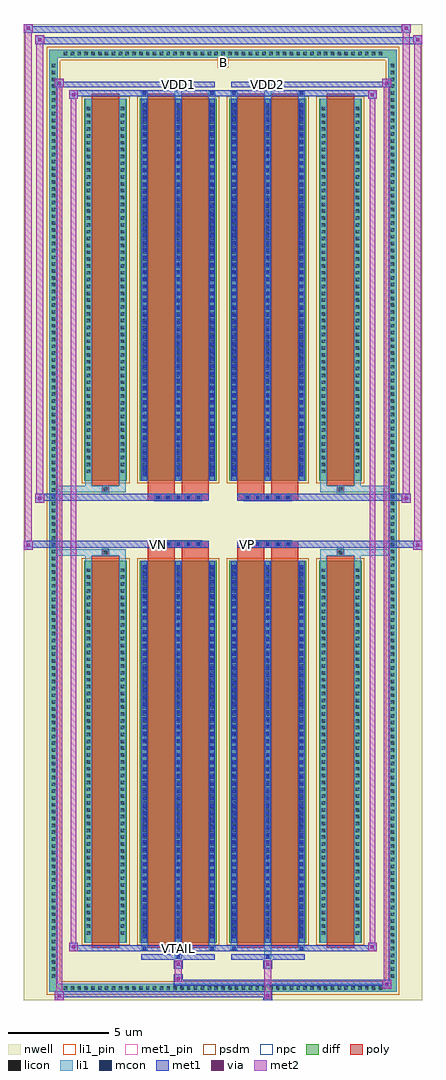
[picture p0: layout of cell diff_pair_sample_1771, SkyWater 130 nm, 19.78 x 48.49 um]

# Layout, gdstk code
import gdstk
lib = gdstk.Library(unit=1e-6, precision=5e-09)
def R(c, l, rs):  # rectangles x0, y0, x1, y1
    for r in rs: c.add(gdstk.rectangle(r[:2], r[2:], *l))
def A(c, l, x, y, w, h, nx, ny, dx, dy):  # array of equal rectangles
    R(c, l, [(x+i*dx, y+j*dy, x+i*dx+w, y+j*dy+h) for i in range(nx) for j in range(ny)])
def P(c, l, *ps):  # polygons
    for p in ps: c.add(gdstk.Polygon(p, *l))
nwell = (64, 20)
diff = (65, 20)
poly = (66, 20)
licon = (66, 44)
li1_pin = (67, 16)
li1 = (67, 20)
mcon = (67, 44)
met1_pin = (68, 16)
met1 = (68, 20)
via = (68, 44)
met2 = (69, 20)
psdm = (94, 20)
npc = (95, 20)

diff_pair_sample_1771 = lib.new_cell('diff_pair_sample_1771')
R(diff_pair_sample_1771, nwell, [(-9.89,-23.81,9.89,24.68), (-7.21,-22,-0.01,-0.8), (0.01,-22,7.21,-0.8), (-7.21,0.8,-0.01,22), (0.01,0.8,7.21,22)])
A(diff_pair_sample_1771, diff, -8.025, -23.41, 0.41, 0.41, 47, 2, 0.34, 46.41)
A(diff_pair_sample_1771, diff, -8.62, -22.815, 0.41, 0.41, 1, 134, 0, 0.34)
A(diff_pair_sample_1771, diff, 8.21, -22.815, 0.41, 0.41, 1, 134, 0, 0.34)
R(diff_pair_sample_1771, diff, [(-8.025,-23.41,8.025,-23), (-8.62,-22.815,-8.21,22.815), (8.21,-22.815,8.62,22.815), (-6.9,-20.955,-4.77,-1.985), (-4.13,-20.955,-0.32,-1.985), (0.32,-20.955,4.13,-1.985), (4.77,-20.955,6.9,-1.985), (-6.9,1.985,-4.77,20.955), (-4.13,1.985,-0.32,20.955), (0.32,1.985,4.13,20.955), (4.77,1.985,6.9,20.955), (-8.025,23,8.025,23.41)])
P(diff_pair_sample_1771, diff, [(8.62,23.41),(-8.62,23.41),(-8.62,-23),(-8.21,-23),(-8.21,23),(8.21,23),(8.21,-23),(-8.21,-23),(-8.62,-23),(-8.62,-23.41),(8.62,-23.41)])
A(diff_pair_sample_1771, poly, -3.39, -1.33, 0.33, 0.33, 5, 2, 0.5, 2.33)
A(diff_pair_sample_1771, poly, 1.06, -1.33, 0.33, 0.33, 5, 2, 0.5, 2.33)
R(diff_pair_sample_1771, poly, [(-6.51,-21.205,-5.16,-1.735), (-3.74,-21.205,-2.39,-1.735), (-2.06,-21.205,-0.71,-1.735), (0.71,-21.205,2.06,-1.735), (2.39,-21.205,3.74,-1.735), (5.16,-21.205,6.51,-1.735), (-6,-1.735,-5.67,-1.405), (-6,-1.735,-5.67,-1.405), (-3.74,-1.735,-2.39,-1.33), (-2.06,-1.735,-0.71,-1.33), (0.71,-1.735,2.06,-1.33), (2.39,-1.735,3.74,-1.33), (5.67,-1.735,6,-1.405), (5.67,-1.735,6,-1.405), (-3.74,-1.33,-0.71,-1), (0.71,-1.33,3.74,-1), (-3.74,1,-0.71,1.33), (0.71,1,3.74,1.33), (-3.74,1.33,-2.39,1.735), (-2.06,1.33,-0.71,1.735), (0.71,1.33,2.06,1.735), (2.39,1.33,3.74,1.735), (-6,1.405,-5.67,1.735), (-6,1.405,-5.67,1.735), (5.67,1.405,6,1.735), (5.67,1.405,6,1.735), (-6.51,1.735,-5.16,21.205), (-3.74,1.735,-2.39,21.205), (-2.06,1.735,-0.71,21.205), (0.71,1.735,2.06,21.205), (2.39,1.735,3.74,21.205), (5.16,1.735,6.51,21.205)])
A(diff_pair_sample_1771, licon, -7.905, -23.29, 0.17, 0.17, 47, 2, 0.34, 46.41)
A(diff_pair_sample_1771, licon, -8.5, -22.695, 0.17, 0.17, 1, 134, 0, 0.34)
A(diff_pair_sample_1771, licon, 8.33, -22.695, 0.17, 0.17, 1, 134, 0, 0.34)
A(diff_pair_sample_1771, licon, -6.76, -20.565, 0.17, 0.17, 1, 54, 0, 0.34)
A(diff_pair_sample_1771, licon, -5.08, -20.565, 0.17, 0.17, 1, 54, 0, 0.34)
A(diff_pair_sample_1771, licon, -3.99, -20.565, 0.17, 0.17, 3, 54, 1.68, 0.34)
A(diff_pair_sample_1771, licon, 0.46, -20.565, 0.17, 0.17, 3, 54, 1.68, 0.34)
A(diff_pair_sample_1771, licon, 4.91, -20.565, 0.17, 0.17, 1, 54, 0, 0.34)
A(diff_pair_sample_1771, licon, 6.59, -20.565, 0.17, 0.17, 1, 54, 0, 0.34)
A(diff_pair_sample_1771, licon, -3.31, -1.25, 0.17, 0.17, 5, 2, 0.5, 2.33)
A(diff_pair_sample_1771, licon, 1.14, -1.25, 0.17, 0.17, 5, 2, 0.5, 2.33)
A(diff_pair_sample_1771, licon, -6.76, 2.375, 0.17, 0.17, 1, 54, 0, 0.34)
A(diff_pair_sample_1771, licon, -5.08, 2.375, 0.17, 0.17, 1, 54, 0, 0.34)
A(diff_pair_sample_1771, licon, -3.99, 2.375, 0.17, 0.17, 3, 54, 1.68, 0.34)
A(diff_pair_sample_1771, licon, 0.46, 2.375, 0.17, 0.17, 3, 54, 1.68, 0.34)
A(diff_pair_sample_1771, licon, 4.91, 2.375, 0.17, 0.17, 1, 54, 0, 0.34)
A(diff_pair_sample_1771, licon, 6.59, 2.375, 0.17, 0.17, 1, 54, 0, 0.34)
R(diff_pair_sample_1771, licon, [(-5.92,-1.655,-5.75,-1.485), (5.75,-1.655,5.92,-1.485), (-5.92,1.485,-5.75,1.655), (5.75,1.485,5.92,1.655)])
R(diff_pair_sample_1771, li1_pin, [(-0.25,22.5,0.25,23)])
A(diff_pair_sample_1771, li1, -7.985, -23.37, 0.33, 0.33, 47, 2, 0.34, 46.41)
A(diff_pair_sample_1771, li1, -8.58, -22.775, 0.33, 0.33, 1, 134, 0, 0.34)
A(diff_pair_sample_1771, li1, 8.25, -22.775, 0.33, 0.33, 1, 134, 0, 0.34)
A(diff_pair_sample_1771, li1, -4.07, -20.955, 0.33, 18.97, 3, 2, 1.68, 22.94)
A(diff_pair_sample_1771, li1, 0.38, -20.955, 0.33, 18.97, 3, 2, 1.68, 22.94)
A(diff_pair_sample_1771, li1, -3.99, -20.735, 0.17, 0.17, 3, 52, 1.68, 0.36)
A(diff_pair_sample_1771, li1, -3.99, -20.735, 0.17, 18.53, 3, 2, 1.68, 22.94)
A(diff_pair_sample_1771, li1, 0.46, -20.735, 0.17, 0.17, 3, 52, 1.68, 0.36)
A(diff_pair_sample_1771, li1, 0.46, -20.735, 0.17, 18.53, 3, 2, 1.68, 22.94)
A(diff_pair_sample_1771, li1, -6.84, -20.645, 0.33, 0.33, 1, 54, 0, 0.34)
A(diff_pair_sample_1771, li1, -5.16, -20.645, 0.33, 0.33, 1, 54, 0, 0.34)
A(diff_pair_sample_1771, li1, -4.07, -20.645, 0.33, 0.33, 3, 54, 1.68, 0.34)
A(diff_pair_sample_1771, li1, 0.38, -20.645, 0.33, 0.33, 3, 54, 1.68, 0.34)
A(diff_pair_sample_1771, li1, 4.83, -20.645, 0.33, 0.33, 1, 54, 0, 0.34)
A(diff_pair_sample_1771, li1, 6.51, -20.645, 0.33, 0.33, 1, 54, 0, 0.34)
A(diff_pair_sample_1771, li1, -3.39, -1.33, 0.33, 0.33, 5, 2, 0.5, 2.33)
A(diff_pair_sample_1771, li1, 1.06, -1.33, 0.33, 0.33, 5, 2, 0.5, 2.33)
A(diff_pair_sample_1771, li1, -3.99, 2.205, 0.17, 0.17, 3, 52, 1.68, 0.36)
A(diff_pair_sample_1771, li1, 0.46, 2.205, 0.17, 0.17, 3, 52, 1.68, 0.36)
A(diff_pair_sample_1771, li1, -6.84, 2.295, 0.33, 0.33, 1, 54, 0, 0.34)
A(diff_pair_sample_1771, li1, -5.16, 2.295, 0.33, 0.33, 1, 54, 0, 0.34)
A(diff_pair_sample_1771, li1, -4.07, 2.295, 0.33, 0.33, 3, 54, 1.68, 0.34)
A(diff_pair_sample_1771, li1, 0.38, 2.295, 0.33, 0.33, 3, 54, 1.68, 0.34)
A(diff_pair_sample_1771, li1, 4.83, 2.295, 0.33, 0.33, 1, 54, 0, 0.34)
A(diff_pair_sample_1771, li1, 6.51, 2.295, 0.33, 0.33, 1, 54, 0, 0.34)
R(diff_pair_sample_1771, li1, [(-8.62,-23.41,-8.21,-23), (-8.62,-23.41,-8.21,-23), (-8.21,-23.41,8.21,-23), (8.21,-23.41,8.62,-23), (8.21,-23.41,8.62,-23), (-8.62,-23,-8.21,23), (8.21,-23,8.62,23), (-2.39,-21.76,-2.06,-20.955), (-2.31,-21.76,-2.14,-21.59), (2.06,-21.76,2.39,-20.955), (2.14,-21.76,2.31,-21.59), (-4.07,-21.33,-3.74,-20.955), (-3.99,-21.33,-3.82,-21.16), (-0.71,-21.33,-0.38,-20.955), (-0.63,-21.33,-0.46,-21.16), (0.38,-21.33,0.71,-20.955), (0.46,-21.33,0.63,-21.16), (3.74,-21.33,4.07,-20.955), (3.82,-21.33,3.99,-21.16), (-6.84,-20.955,-6.51,-1.985), (-5.16,-20.955,-4.83,-1.985), (4.83,-20.955,5.16,-1.985), (6.51,-20.955,6.84,-1.985), (-6.84,-1.985,-6.51,-1.405), (-5.16,-1.985,-4.83,-1.405), (4.83,-1.985,5.16,-1.405), (6.51,-1.985,6.84,-1.405), (-8.62,-1.735,-6,-1.405), (-6.84,-1.735,-6,-1.405), (-6,-1.735,-5.67,-1.405), (-5.67,-1.735,-4.83,-1.405), (4.83,-1.735,5.67,-1.405), (5.67,-1.735,6,-1.405), (5.67,-1.735,8.62,-1.405), (6,-1.735,6.84,-1.405), (-8.62,1.405,-6,1.735), (-6.84,1.405,-6,1.735), (-6.84,1.405,-6.51,1.985), (-6,1.405,-5.67,1.735), (-5.67,1.405,-4.83,1.735), (-5.16,1.405,-4.83,1.985), (4.83,1.405,5.67,1.735), (4.83,1.405,5.16,1.985), (5.67,1.405,6,1.735), (5.67,1.405,8.62,1.735), (6,1.405,6.84,1.735), (6.51,1.405,6.84,1.985), (-6.84,1.985,-6.51,20.955), (-5.16,1.985,-4.83,20.955), (4.83,1.985,5.16,20.955), (6.51,1.985,6.84,20.955), (-4.07,20.955,-3.74,21.33), (-2.39,20.955,-2.06,21.76), (-0.71,20.955,-0.38,21.33), (0.38,20.955,0.71,21.33), (2.06,20.955,2.39,21.76), (3.74,20.955,4.07,21.33), (-3.99,21.16,-3.82,21.33), (-0.63,21.16,-0.46,21.33), (0.46,21.16,0.63,21.33), (3.82,21.16,3.99,21.33), (-2.31,21.59,-2.14,21.76), (2.14,21.59,2.31,21.76), (-8.62,23,-8.21,23.41), (-8.62,23,-8.21,23.41), (-8.21,23,8.21,23.41), (8.21,23,8.62,23.41), (8.21,23,8.62,23.41)])
A(diff_pair_sample_1771, mcon, -3.99, -20.735, 0.17, 0.17, 3, 52, 1.68, 0.36)
A(diff_pair_sample_1771, mcon, 0.46, -20.735, 0.17, 0.17, 3, 52, 1.68, 0.36)
A(diff_pair_sample_1771, mcon, -3.31, -1.25, 0.17, 0.17, 5, 2, 0.5, 2.33)
A(diff_pair_sample_1771, mcon, 1.14, -1.25, 0.17, 0.17, 5, 2, 0.5, 2.33)
A(diff_pair_sample_1771, mcon, -3.99, 2.205, 0.17, 0.17, 3, 52, 1.68, 0.36)
A(diff_pair_sample_1771, mcon, 0.46, 2.205, 0.17, 0.17, 3, 52, 1.68, 0.36)
R(diff_pair_sample_1771, mcon, [(-2.31,-21.76,-2.14,-21.59), (2.14,-21.76,2.31,-21.59), (-3.99,-21.33,-3.82,-21.16), (-0.63,-21.33,-0.46,-21.16), (0.46,-21.33,0.63,-21.16), (3.82,-21.33,3.99,-21.16), (-3.99,21.16,-3.82,21.33), (-0.63,21.16,-0.46,21.33), (0.46,21.16,0.63,21.33), (3.82,21.16,3.99,21.33), (-2.31,21.59,-2.14,21.76), (2.14,21.59,2.31,21.76)])
R(diff_pair_sample_1771, met1_pin, [(-2.36,-21.37,-2.09,-21.1), (-3.36,-1.29,-3.09,-1.02), (1.09,-1.29,1.36,-1.02), (-2.36,21.55,-2.09,21.82), (2.09,21.55,2.36,21.82)])
A(diff_pair_sample_1771, met1, -4.05, -20.955, 0.29, 18.97, 3, 2, 1.68, 22.94)
A(diff_pair_sample_1771, met1, 0.4, -20.955, 0.29, 18.97, 3, 2, 1.68, 22.94)
A(diff_pair_sample_1771, met1, -4.05, -20.795, 0.29, 0.29, 3, 52, 1.68, 0.36)
A(diff_pair_sample_1771, met1, 0.4, -20.795, 0.29, 0.29, 3, 52, 1.68, 0.36)
A(diff_pair_sample_1771, met1, -3.37, -1.31, 0.29, 0.29, 5, 2, 0.5, 2.33)
A(diff_pair_sample_1771, met1, 1.08, -1.31, 0.29, 0.29, 5, 2, 0.5, 2.33)
A(diff_pair_sample_1771, met1, -4.05, 2.145, 0.29, 0.29, 3, 52, 1.68, 0.36)
A(diff_pair_sample_1771, met1, 0.4, 2.145, 0.29, 0.29, 3, 52, 1.68, 0.36)
R(diff_pair_sample_1771, met1, [(-8.35,-23.81,-7.92,-23.38), (2.01,-23.81,2.44,-23.38), (-8.35,-23.67,2.44,-23.38), (7.92,-23.24,8.35,-22.81), (-2.44,-23.1,8.35,-22.81), (-2.44,-22.96,-2.01,-22.53), (-2.44,-22.25,-2.01,-21.82), (2.01,-22.25,2.44,-21.82), (-4.05,-21.82,-0.4,-21.53), (-2.37,-21.82,-2.08,-21.53), (0.4,-21.82,4.05,-21.53), (2.08,-21.82,2.37,-21.53), (-7.64,-21.39,-7.21,-20.96), (-7.64,-21.39,-4.05,-21.1), (-4.05,-21.39,-3.76,-21.1), (-4.05,-21.39,-0.4,-21.1), (-0.69,-21.39,-0.4,-21.1), (-0.4,-21.39,0.4,-21.1), (0.4,-21.39,0.69,-21.1), (0.4,-21.39,4.05,-21.1), (3.76,-21.39,4.05,-21.1), (4.05,-21.39,7.64,-21.1), (7.21,-21.39,7.64,-20.96), (-9.89,-1.43,-9.46,-1), (9.46,-1.43,9.89,-1), (-9.89,-1.33,-0.71,-1), (-3.74,-1.33,-0.71,-1), (0.71,-1.33,3.74,-1), (0.71,-1.33,9.89,-1), (-9.32,0.9,-8.89,1.33), (8.89,0.9,9.32,1.33), (-9.32,1,-3.74,1.33), (-3.74,1,-0.71,1.33), (0.71,1,3.74,1.33), (3.74,1,9.32,1.33), (-7.64,20.96,-7.21,21.39), (7.21,20.96,7.64,21.39), (-7.64,21.1,-4.05,21.39), (-4.05,21.1,-3.76,21.39), (-4.05,21.1,-0.4,21.39), (-0.69,21.1,-0.4,21.39), (-0.4,21.1,0.4,21.39), (0.4,21.1,0.69,21.39), (0.4,21.1,4.05,21.39), (3.76,21.1,4.05,21.39), (4.05,21.1,7.64,21.39), (-8.35,21.53,-7.92,21.96), (-8.35,21.53,-4.05,21.82), (-4.05,21.53,-0.4,21.82), (-2.37,21.53,-2.08,21.82), (0.4,21.53,4.05,21.82), (2.08,21.53,2.37,21.82), (4.05,21.53,8.35,21.82), (7.92,21.53,8.35,21.96), (-9.32,23.68,-8.89,24.11), (-9.32,23.68,-7.21,24.01), (-7.21,23.68,7.21,24.01), (7.21,23.68,9.89,24.01), (9.46,23.68,9.89,24.11), (-9.89,24.25,-9.46,24.68), (-9.89,24.25,-7.21,24.58), (-7.21,24.25,7.21,24.58), (7.21,24.25,9.32,24.58), (8.89,24.25,9.32,24.68)])
R(diff_pair_sample_1771, via, [(-8.21,-23.67,-8.06,-23.52), (2.15,-23.67,2.3,-23.52), (8.06,-23.1,8.21,-22.95), (-2.3,-22.82,-2.15,-22.67), (-2.3,-22.11,-2.15,-21.96), (2.15,-22.11,2.3,-21.96), (-7.5,-21.25,-7.35,-21.1), (7.35,-21.25,7.5,-21.1), (-9.75,-1.29,-9.6,-1.14), (9.6,-1.29,9.75,-1.14), (-9.18,1.04,-9.03,1.19), (9.03,1.04,9.18,1.19), (-7.5,21.1,-7.35,21.25), (7.35,21.1,7.5,21.25), (-8.21,21.67,-8.06,21.82), (8.06,21.67,8.21,21.82), (-9.18,23.82,-9.03,23.97), (9.6,23.82,9.75,23.97), (-9.75,24.39,-9.6,24.54), (9.03,24.39,9.18,24.54)])
R(diff_pair_sample_1771, met2, [(-8.35,-23.81,-7.92,-23.38), (-8.28,-23.81,-7.99,21.96), (-7.99,-23.81,-7.92,-23.38), (-8.3,-23.76,-7.97,-23.43), (2.06,-23.76,2.39,-23.43), (2.06,-23.43,2.39,-22.2), (7.92,-23.24,8.35,-22.81), (7.99,-23.24,8.28,21.96), (8.28,-23.24,8.35,-22.81), (7.97,-23.19,8.3,-22.86), (-2.39,-22.91,-2.06,-22.58), (-2.39,-22.58,-2.06,-22.2), (-2.39,-22.2,-2.06,-21.87), (2.06,-22.2,2.39,-21.87), (-7.64,-21.39,-7.21,-20.96), (-7.57,-21.39,-7.28,21.39), (-7.28,-21.39,-7.21,-20.96), (7.21,-21.39,7.64,-20.96), (7.28,-21.39,7.57,21.39), (7.57,-21.39,7.64,-20.96), (-7.59,-21.34,-7.26,-21.01), (7.26,-21.34,7.59,-21.01), (-9.89,-1.43,-9.46,-1), (-9.84,-1.43,-9.51,24.68), (-9.51,-1.43,-9.46,-1), (9.46,-1.43,9.89,-1), (9.51,-1.43,9.84,24.11), (9.84,-1.43,9.89,-1), (-9.84,-1.38,-9.51,-1.05), (9.51,-1.38,9.84,-1.05), (-9.32,0.9,-8.89,1.33), (-9.27,0.9,-8.94,24.11), (-8.94,0.9,-8.89,1.33), (8.89,0.9,9.32,1.33), (8.94,0.9,9.27,24.68), (9.27,0.9,9.32,1.33), (-9.27,0.95,-8.94,1.28), (8.94,0.95,9.27,1.28), (-7.64,20.96,-7.21,21.39), (-7.28,20.96,-7.21,21.39), (7.21,20.96,7.64,21.39), (7.57,20.96,7.64,21.39), (-7.59,21.01,-7.26,21.34), (7.26,21.01,7.59,21.34), (-8.35,21.53,-7.92,21.96), (-7.99,21.53,-7.92,21.96), (7.92,21.53,8.35,21.96), (8.28,21.53,8.35,21.96), (-8.3,21.58,-7.97,21.91), (7.97,21.58,8.3,21.91), (-9.32,23.68,-8.89,24.11), (-8.94,23.68,-8.89,24.11), (9.46,23.68,9.89,24.11), (9.84,23.68,9.89,24.11), (-9.27,23.73,-8.94,24.06), (9.51,23.73,9.84,24.06), (-9.89,24.25,-9.46,24.68), (-9.51,24.25,-9.46,24.68), (8.89,24.25,9.32,24.68), (9.27,24.25,9.32,24.68), (-9.84,24.3,-9.51,24.63), (8.94,24.3,9.27,24.63)])
R(diff_pair_sample_1771, psdm, [(-7.03,-21.085,-4.64,-1.855), (-4.26,-21.085,-0.19,-1.855), (0.19,-21.085,4.26,-1.855), (4.64,-21.085,7.03,-1.855), (-7.03,1.855,-4.64,21.085), (-4.26,1.855,-0.19,21.085), (0.19,1.855,4.26,21.085), (4.64,1.855,7.03,21.085)])
P(diff_pair_sample_1771, psdm, [(8.75,23.54),(-8.75,23.54),(-8.75,-22.87),(-8.08,-22.87),(-8.08,22.87),(8.08,22.87),(8.08,-22.87),(-8.08,-22.87),(-8.75,-22.87),(-8.75,-23.54),(8.75,-23.54)])
A(diff_pair_sample_1771, npc, -3.41, -1.35, 0.37, 0.37, 5, 2, 0.5, 2.33)
A(diff_pair_sample_1771, npc, 1.04, -1.35, 0.37, 0.37, 5, 2, 0.5, 2.33)
R(diff_pair_sample_1771, npc, [(-6.02,-1.755,-5.65,-1.385), (5.65,-1.755,6.02,-1.385), (-3.41,-1.35,-2.54,-0.98), (-3.41,-1.35,-2.54,-0.98), (-2.91,-1.35,-2.04,-0.98), (-2.91,-1.35,-2.04,-0.98), (-2.41,-1.35,-1.54,-0.98), (-2.41,-1.35,-1.54,-0.98), (-1.91,-1.35,-1.04,-0.98), (-1.91,-1.35,-1.04,-0.98), (1.04,-1.35,1.91,-0.98), (1.04,-1.35,1.91,-0.98), (1.54,-1.35,2.41,-0.98), (1.54,-1.35,2.41,-0.98), (2.04,-1.35,2.91,-0.98), (2.04,-1.35,2.91,-0.98), (2.54,-1.35,3.41,-0.98), (2.54,-1.35,3.41,-0.98), (-3.41,0.98,-2.54,1.35), (-3.41,0.98,-2.54,1.35), (-2.91,0.98,-2.04,1.35), (-2.91,0.98,-2.04,1.35), (-2.41,0.98,-1.54,1.35), (-2.41,0.98,-1.54,1.35), (-1.91,0.98,-1.04,1.35), (-1.91,0.98,-1.04,1.35), (1.04,0.98,1.91,1.35), (1.04,0.98,1.91,1.35), (1.54,0.98,2.41,1.35), (1.54,0.98,2.41,1.35), (2.04,0.98,2.91,1.35), (2.04,0.98,2.91,1.35), (2.54,0.98,3.41,1.35), (2.54,0.98,3.41,1.35), (-6.02,1.385,-5.65,1.755), (5.65,1.385,6.02,1.755)])
diff_pair_sample_1771.add(gdstk.Label('VTAIL', (-2.225,-21.235), layer=68, texttype=5))
diff_pair_sample_1771.add(gdstk.Label('VN', (-3.225,-1.155), layer=68, texttype=5))
diff_pair_sample_1771.add(gdstk.Label('VP', (1.225,-1.155), layer=68, texttype=5))
diff_pair_sample_1771.add(gdstk.Label('B', (0,22.75), layer=67, texttype=5))
diff_pair_sample_1771.add(gdstk.Label('VDD2', (2.225,21.685), layer=68, texttype=5))
diff_pair_sample_1771.add(gdstk.Label('VDD1', (-2.225,21.685), layer=68, texttype=5))

lib.write_gds('diff_pair_sample_1771.gds')
